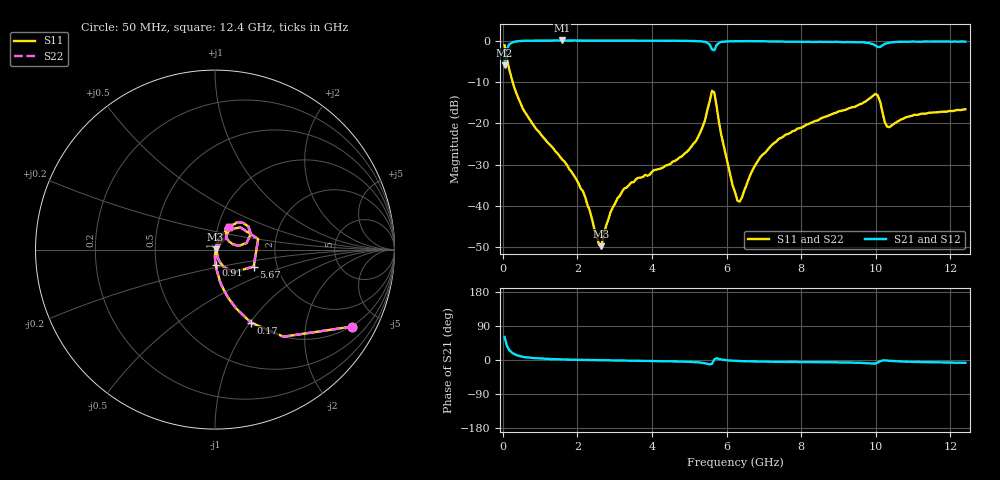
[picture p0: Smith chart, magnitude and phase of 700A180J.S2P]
!  American Technical Ceramics  Date:  3/13/98
!  One Norden Lane
!  Huntington Station,  NY.  11746-2102
!  Tel:  (516) 547-5700  Fax:  (516) 547-5748
!  Part Number  700A180J
!  Description: Porcelain, High Q, Low ESR
!  Application: Bypass, Coupling, Timing, Feedback
!  Tuning, Impedance Match, Blocking
# GHZ S DB R 50
! Freq  |S11|  S11 Ph  |S21|  S21 Ph  |S12|  S12 Ph  |S22|  S22 Ph
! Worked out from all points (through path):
!   201 points, 50 MHz to 12.4 GHz, reference 50 ohm
!   highest |S21| = 0.02 dB at 1.59 GHz (marker M1); lowest = -6.0 dB at 50 MHz (marker M2)
!   group delay of S21, straight-line fit = 3.35 ps
!   lowest |S11| = -49.7 dB at 2.64 GHz (marker M3), VSWR 1.01, Z = 50.3 + j0.0762 ohm
!   |S11| at or under -10 dB: 266.1 MHz to end of sweep
!   |S22| runs from -49.7 to -1.1 dB; largest |S21 - S12| = 0
!   S11 on the Smith chart (normalised r, x): 50 MHz: 0.97, -3.58; 170 MHz: 0.99, -1.01; 910 MHz: 0.99, -0.17; 5.67 GHz: 1.51, -0.30; 12.4 GHz: 1.13, +0.29
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0.05  -1.15 -29.3  -6.01 60.6  -6.01 60.6  -1.15 -29.3
0.17  -6.88 -63.8  -0.98 26.4  -0.98 26.4  -6.88 -63.8
0.54  -16.51 -82.7  -0.08 8.3  -0.08 8.3  -16.51 -82.7
0.91  -21.51 -87.3  -0.02 4.6  -0.02 4.6  -21.51 -87.3
1.59  -28.74 -91.1  0.02 1.6  0.02 1.6  -28.74 -91.1
2.15  -36.43 -86.0  -0.01 0.2  -0.01 0.2  -36.43 -86.0
2.64  -49.69 13.4  -0.03 -0.6  -0.03 -0.6  -49.69 13.4
2.89  -41.47 56.7  -0.02 -0.9  -0.02 -0.9  -41.47 56.7
3.26  -35.74 63.3  -0.01 -1.6  -0.01 -1.6  -35.74 63.3
4.19  -31.04 66.0  -0.03 -3.0  -0.03 -3.0  -31.04 66.0
5.18  -24.27 68.9  -0.12 -5.8  -0.12 -5.8  -24.27 68.9
5.55  -14.50 40.7  -1.03 -11.7  -1.03 -11.7  -14.50 40.7
5.67  -12.57 -23.6  -2.35 1.7  -2.35 1.7  -12.57 -23.6
5.85  -22.51 -68.6  -0.36 1.6  -0.36 1.6  -22.51 -68.6
6.23  -36.74 -39.4  -0.16 -2.0  -0.16 -2.0  -36.74 -39.4
6.35  -38.92 -0.9  -0.16 -2.5  -0.16 -2.5  -38.92 -0.9
6.72  -30.87 49.5  -0.15 -3.7  -0.15 -3.7  -30.87 49.5
7.21  -25.25 49.5  -0.20 -4.6  -0.20 -4.6  -25.25 49.5
8.32  -19.64 51.5  -0.34 -5.6  -0.34 -5.6  -19.64 51.5
9.99  -12.92 34.7  -1.24 -9.1  -1.24 -9.1  -12.92 34.7
10.36  -20.94 39.0  -0.52 -2.1  -0.52 -2.1  -20.94 39.0
12.4  -16.61 58.8  -0.27 -7.4  -0.27 -7.4  -16.61 58.8
